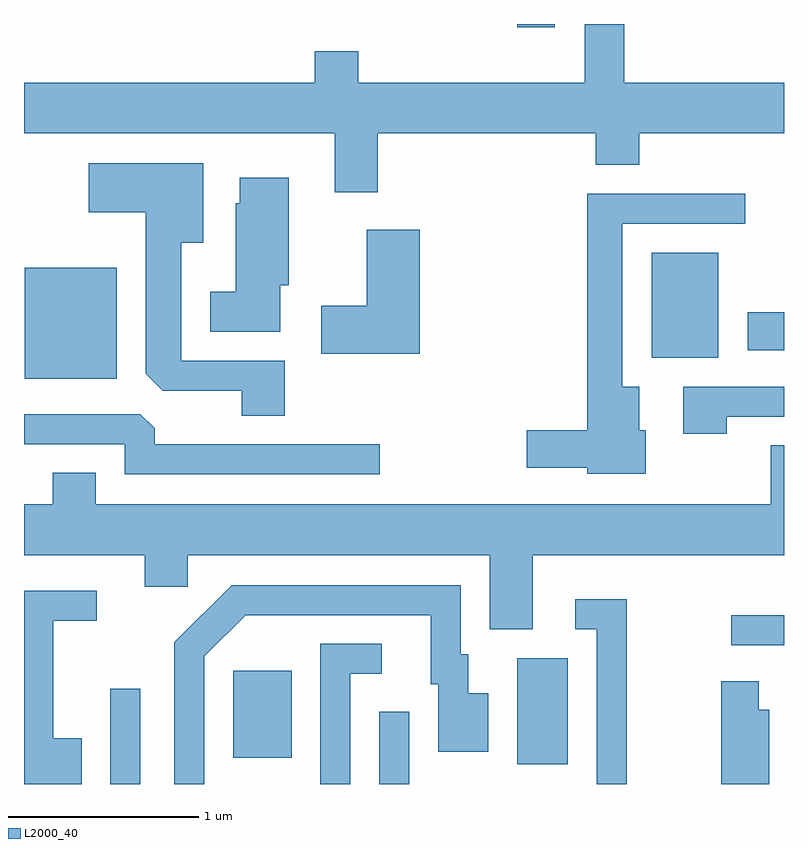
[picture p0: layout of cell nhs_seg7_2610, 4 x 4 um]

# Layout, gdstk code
import gdstk
lib = gdstk.Library(unit=1e-6, precision=1e-09)
def R(c, l, rs):  # rectangles x0, y0, x1, y1
    for r in rs: c.add(gdstk.rectangle(r[:2], r[2:], *l))
def P(c, l, *ps):  # polygons
    for p in ps: c.add(gdstk.Polygon(p, *l))
L2000_40 = (2000, 40)

nhs_seg7_2610 = lib.new_cell('nhs_seg7_2610')
R(nhs_seg7_2610, L2000_40, [(266.066,1684.252,266.224,1684.753), (267.481,1684.252,267.639,1684.633), (268.206,1684.356,268.474,1684.914), (266.711,1684.391,267.019,1684.849), (269.333,1684.981,269.611,1685.139), (265.616,1686.386,266.099,1686.969), (268.916,1686.496,269.264,1687.049), (269.421,1686.536,269.611,1686.734), (268.206,1688.236,268.404,1688.252)])
P(nhs_seg7_2610, L2000_40, [(267.474,1687.676),(268.621,1687.676),(268.621,1687.511),(268.849,1687.511),(268.849,1687.676),(269.611,1687.676),(269.611,1687.944),(268.769,1687.944),(268.769,1688.252),(268.561,1688.252),(268.561,1687.944),(267.369,1687.944),(267.369,1688.109),(267.141,1688.109),(267.141,1687.944),(265.611,1687.944),(265.611,1687.676),(267.246,1687.676),(267.246,1687.366),(267.474,1687.366)],
  [(266.984,1686.479),(266.439,1686.479),(266.439,1687.101),(266.554,1687.101),(266.554,1687.519),(265.951,1687.519),(265.951,1687.261),(266.251,1687.261),(266.251,1686.412),(266.342,1686.321),(266.756,1686.321),(266.756,1686.191),(266.984,1686.191)],
  [(266.959,1686.876),(267.004,1686.876),(267.004,1687.444),(266.746,1687.444),(266.746,1687.309),(266.726,1687.309),(266.726,1686.844),(266.591,1686.844),(266.591,1686.631),(266.959,1686.631)],
  [(268.884,1686.114),(268.849,1686.114),(268.849,1686.344),(268.759,1686.344),(268.759,1687.201),(269.408,1687.201),(269.408,1687.359),(268.576,1687.359),(268.576,1686.114),(268.256,1686.114),(268.256,1685.916),(268.576,1685.916),(268.576,1685.886),(268.884,1685.886)],
  [(267.694,1687.169),(267.416,1687.169),(267.416,1686.769),(267.176,1686.769),(267.176,1686.516),(267.694,1686.516)],
  [(269.309,1686.186),(269.611,1686.186),(269.611,1686.344),(269.081,1686.344),(269.081,1686.096),(269.309,1686.096)],
  [(267.483,1686.039),(266.299,1686.039),(266.299,1686.124),(266.224,1686.199),(265.611,1686.199),(265.611,1686.041),(266.141,1686.041),(266.141,1685.881),(267.483,1685.881)],
  [(268.289,1685.456),(269.611,1685.456),(269.611,1686.034),(269.541,1686.034),(269.541,1685.724),(265.989,1685.724),(265.989,1685.889),(265.761,1685.889),(265.761,1685.724),(265.611,1685.724),(265.611,1685.456),(266.246,1685.456),(266.246,1685.291),(266.474,1685.291),(266.474,1685.456),(268.061,1685.456),(268.061,1685.066),(268.289,1685.066)],
  [(266.559,1684.924),(266.777,1685.141),(267.751,1685.141),(267.751,1684.776),(267.791,1684.776),(267.791,1684.421),(268.054,1684.421),(268.054,1684.729),(267.949,1684.729),(267.949,1684.934),(267.909,1684.934),(267.909,1685.299),(266.704,1685.299),(266.401,1684.997),(266.401,1684.252),(266.559,1684.252)],
  [(265.914,1684.494),(265.764,1684.494),(265.764,1685.111),(265.993,1685.111),(265.993,1685.269),(265.611,1685.269),(265.611,1684.252),(265.914,1684.252)],
  [(268.784,1685.224),(268.513,1685.224),(268.513,1685.066),(268.626,1685.066),(268.626,1684.252),(268.784,1684.252)],
  [(267.329,1684.831),(267.493,1684.831),(267.493,1684.989),(267.171,1684.989),(267.171,1684.252),(267.329,1684.252)],
  [(269.534,1684.644),(269.479,1684.644),(269.479,1684.794),(269.281,1684.794),(269.281,1684.252),(269.534,1684.252)])

lib.write_gds('nhs_seg7_2610.gds')
